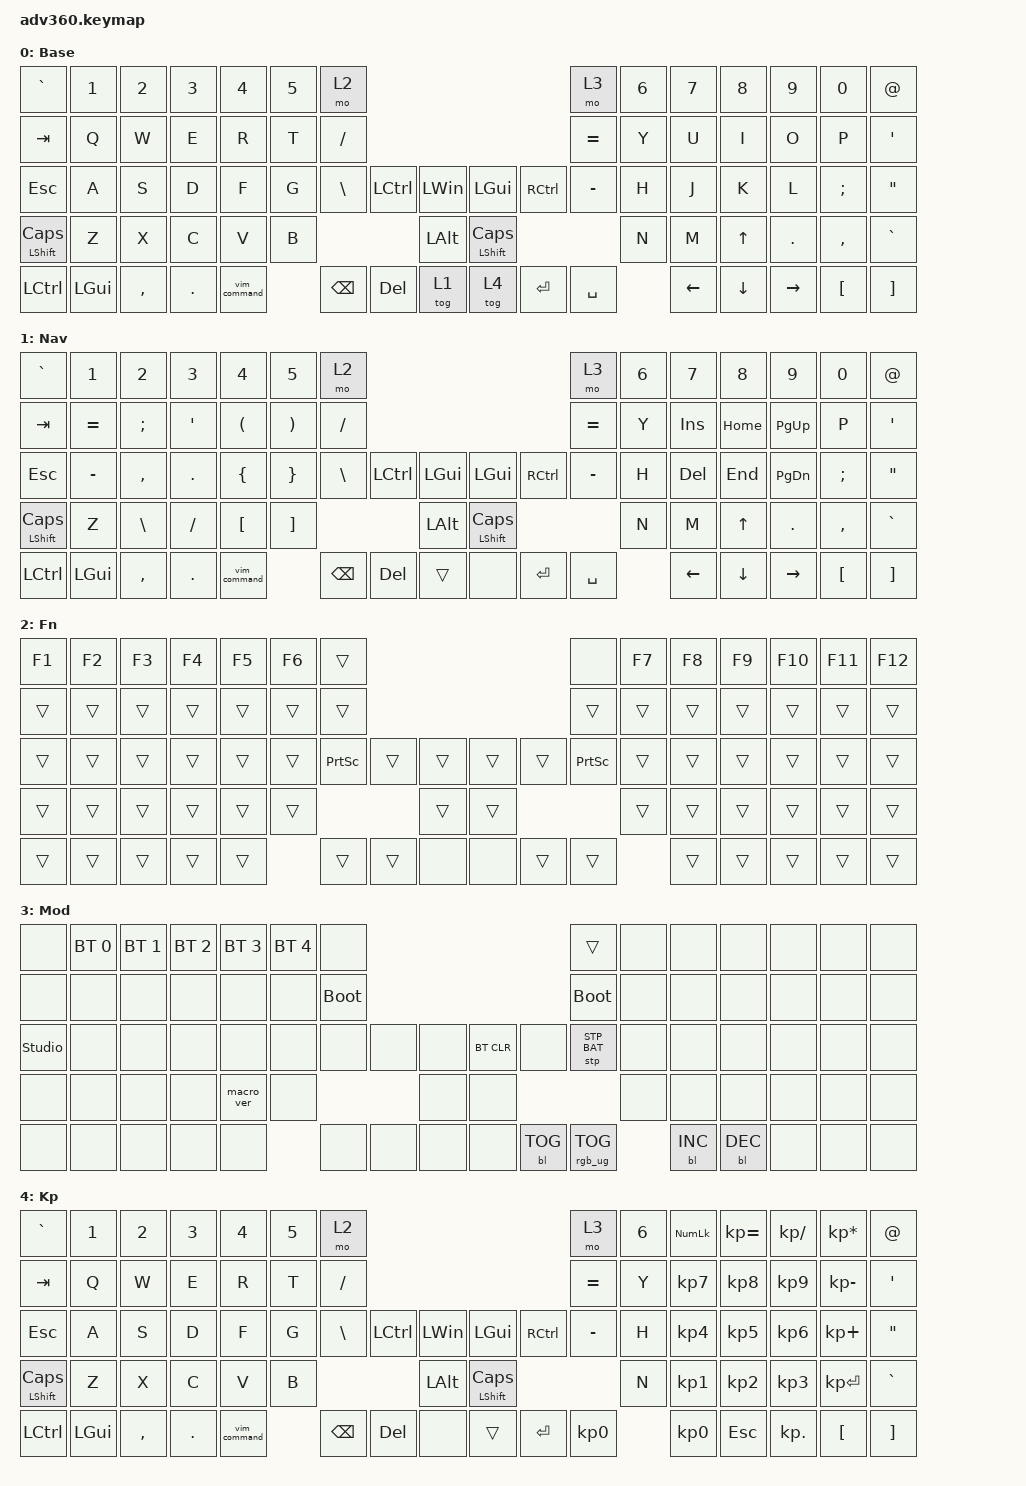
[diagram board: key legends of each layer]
#include <dt-bindings/zmk/stp.h>
#include <behaviors.dtsi>
#include <dt-bindings/zmk/backlight.h>
#include <dt-bindings/zmk/bt.h>
#include <dt-bindings/zmk/keys.h>
#include <dt-bindings/zmk/rgb.h>

/ {
    behaviors {
        #include "macros.dtsi"
      #include "version.dtsi"

        hm: homerow_mods {
            compatible = "zmk,behavior-hold-tap";
            label = "HOMEROW_MODS";
            #binding-cells = <2>;
            tapping-term-ms = <200>;
            quick_tap_ms = <175>;
            flavor = "tap-preferred";
            bindings = <&kp>, <&kp>;
        };
    };

    macros {
        vim_command: vim_command {
            compatible = "zmk,behavior-macro";
            #binding-cells = <0>;
            bindings = <&kp ESC &kp COLON>;
            label = "VIM_COMMAND";
        };
    };

    keymap {
        compatible = "zmk,keymap";

        default_layer {
            display-name = "Base";
            bindings = <
&kp GRAVE       &kp N1    &kp N2     &kp N3   &kp N4        &kp N5  &mo 2                                                                  &mo 3      &kp N6  &kp N7          &kp N8          &kp N9           &kp N0     &kp AT
&kp TAB         &kp Q     &kp W      &kp E    &kp R         &kp T   &kp FSLH                                                               &kp EQUAL  &kp Y   &kp U           &kp I           &kp O            &kp P      &kp SINGLE_QUOTE
&kp ESCAPE      &kp A     &kp S      &kp D    &kp F         &kp G   &kp BSLH  &kp LCTRL  &kp LEFT_WIN      &kp LGUI             &kp RCTRL  &kp MINUS  &kp H   &kp J           &kp K           &kp L            &kp SEMI   &kp DOUBLE_QUOTES
&mt LSHFT CAPS  &kp Z     &kp X      &kp C    &kp V         &kp B                        &kp LEFT_ALT      &mt LEFT_SHIFT CAPS                        &kp N   &kp M           &kp UP_ARROW    &kp DOT          &kp COMMA  &kp GRAVE
&kp LCTRL       &kp LGUI  &kp COMMA  &kp DOT  &vim_command          &kp BSPC  &kp DEL    &tog 1            &tog 4               &kp ENTER  &kp SPACE          &kp LEFT_ARROW  &kp DOWN_ARROW  &kp RIGHT_ARROW  &kp LBKT   &kp RBKT
            >;
        };

        navigation {
            display-name = "Nav";
            bindings = <
&kp GRAVE       &kp N1     &kp N2     &kp N3    &kp N4        &kp N5    &mo 2                                                          &mo 3      &kp N6  &kp N7          &kp N8          &kp N9           &kp N0     &kp AT
&kp TAB         &kp EQUAL  &kp SEMI   &kp SQT   &kp LPAR      &kp RPAR  &kp FSLH                                                       &kp EQUAL  &kp Y   &kp INSERT      &kp HOME        &kp PG_UP        &kp P      &kp SINGLE_QUOTE
&kp ESC         &kp MINUS  &kp COMMA  &kp DOT   &kp LBRC      &kp RBRC  &kp BSLH  &kp LCTRL  &kp LGUI      &kp LGUI         &kp RCTRL  &kp MINUS  &kp H   &kp DELETE      &kp END         &kp PG_DN        &kp SEMI   &kp DOUBLE_QUOTES
&mt LSHFT CAPS  &kp Z      &kp BSLH   &kp FSLH  &kp LBKT      &kp RBKT                       &kp LALT      &mt LSHIFT CAPS                        &kp N   &kp M           &kp UP_ARROW    &kp DOT          &kp COMMA  &kp GRAVE
&kp LCTRL       &kp LGUI   &kp COMMA  &kp DOT   &vim_command            &kp BSPC  &kp DEL    &trans        &none            &kp ENTER  &kp SPACE          &kp LEFT_ARROW  &kp DOWN_ARROW  &kp RIGHT_ARROW  &kp LBKT   &kp RBKT
            >;
        };

        fn {
            display-name = "Fn";
            bindings = <
&kp F1  &kp F2  &kp F3  &kp F4  &kp F5  &kp F6  &trans                                         &none      &kp F7  &kp F8  &kp F9  &kp F10  &kp F11  &kp F12
&trans  &trans  &trans  &trans  &trans  &trans  &trans                                         &trans     &trans  &trans  &trans  &trans   &trans   &trans
&trans  &trans  &trans  &trans  &trans  &trans  &kp PSCRN  &trans  &trans      &trans  &trans  &kp PSCRN  &trans  &trans  &trans  &trans   &trans   &trans
&trans  &trans  &trans  &trans  &trans  &trans                     &trans      &trans                     &trans  &trans  &trans  &trans   &trans   &trans
&trans  &trans  &trans  &trans  &trans          &trans     &trans  &none       &none   &trans  &trans             &trans  &trans  &trans   &trans   &trans
            >;
        };

        mod {
            display-name = "Mod";
            bindings = <
&none           &bt BT_SEL 0  &bt BT_SEL 1  &bt BT_SEL 2  &bt BT_SEL 3  &bt BT_SEL 4  &none                                                  &trans           &none  &none       &none       &none  &none  &none
&none           &none         &none         &none         &none         &none         &bootloader                                            &bootloader      &none  &none       &none       &none  &none  &none
&studio_unlock  &none         &none         &none         &none         &none         &none        &none  &none      &bt BT_CLR  &none       &stp STP_BAT     &none  &none       &none       &none  &none  &none
&none           &none         &none         &none         &macro_ver    &none                             &none      &none                                    &none  &none       &none       &none  &none  &none
&none           &none         &none         &none         &none                       &none        &none  &none      &none       &bl BL_TOG  &rgb_ug RGB_TOG         &bl BL_INC  &bl BL_DEC  &none  &none  &none
            >;
        };

        keypad {
            display-name = "Kp";
            bindings = <
&kp GRAVE       &kp N1    &kp N2     &kp N3   &kp N4        &kp N5  &mo 2                                                              &mo 3            &kp N6  &kp KP_NUM  &kp KP_EQUAL  &kp KP_SLASH  &kp KP_MULTIPLY  &kp AT
&kp TAB         &kp Q     &kp W      &kp E    &kp R         &kp T   &kp FSLH                                                           &kp EQUAL        &kp Y   &kp KP_N7   &kp KP_N8     &kp KP_N9     &kp KP_MINUS     &kp SINGLE_QUOTE
&kp ESC         &kp A     &kp S      &kp D    &kp F         &kp G   &kp BSLH  &kp LCTRL  &kp LEFT_WIN      &kp LGUI         &kp RCTRL  &kp MINUS        &kp H   &kp KP_N4   &kp KP_N5     &kp KP_N6     &kp KP_PLUS      &kp DOUBLE_QUOTES
&mt LSHFT CAPS  &kp Z     &kp X      &kp C    &kp V         &kp B                        &kp LEFT_ALT      &mt LSHIFT CAPS                              &kp N   &kp KP_N1   &kp KP_N2     &kp KP_N3     &kp KP_ENTER     &kp GRAVE
&kp LCTRL       &kp LGUI  &kp COMMA  &kp DOT  &vim_command          &kp BSPC  &kp DEL    &none             &trans           &kp ENTER  &kp KP_NUMBER_0          &kp KP_N0   &kp ESC       &kp KP_DOT    &kp LBKT         &kp RBKT
            >;
        };
    };
};
